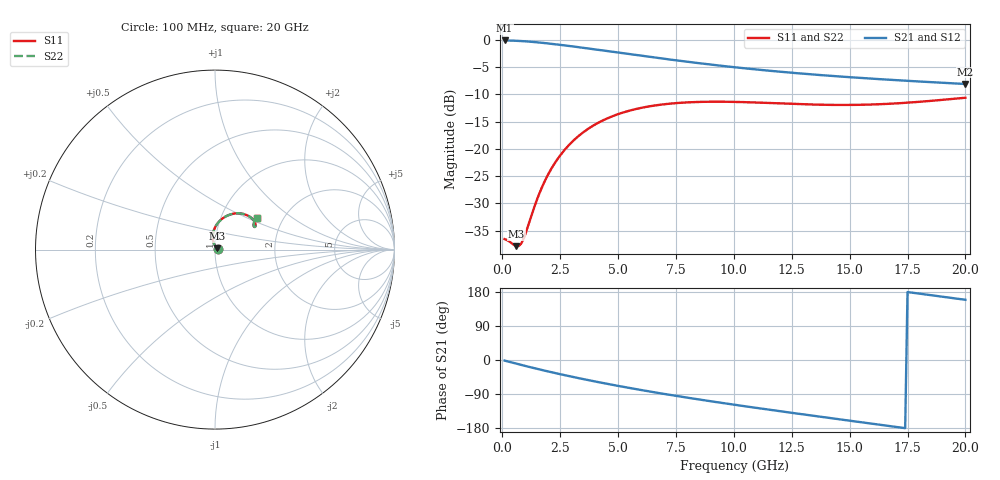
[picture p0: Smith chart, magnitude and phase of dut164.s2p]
! Created with skrf 1.9.0 (http://scikit-rf.org).
# GHz S RI R 50.0
!freq ReS11 ImS11 ReS21 ImS21 ReS12 ImS12 ReS22 ImS22
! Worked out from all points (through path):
!   200 points, 100 MHz to 20 GHz, reference 50 ohm
!   highest |S21| = -0.13 dB at 100 MHz (marker M1); lowest = -8.1 dB at 20 GHz (marker M2)
!   group delay of S21, straight-line fit = 26.6 ps
!   lowest |S11| = -37.9 dB at 600 MHz (marker M3), VSWR 1.03, Z = 51 + j0.764 ohm
!   |S11| at or under -10 dB: start of sweep to end of sweep
!   |S22| runs from -37.9 to -10.6 dB; largest |S21 - S12| = 2.3e-15
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0.1  0.0148 0.00108  0.9845 -0.0276  0.9845 -0.0276  0.0148 0.00108
0.6  0.0104 0.00748  0.9645 -0.1624  0.9645 -0.1624  0.0104 0.00748
0.7  0.00885 0.00928  0.9574 -0.1883  0.9574 -0.1883  0.00885 0.00928
0.8  0.00714 0.0113  0.9493 -0.2137  0.9493 -0.2137  0.00714 0.0113
0.9  0.00531 0.0136  0.9403 -0.2386  0.9403 -0.2386  0.00531 0.0136
1.6  -0.00764 0.0382  0.856 -0.395  0.856 -0.395  -0.00764 0.0382
1.8  -0.0103 0.0477  0.8266 -0.4335  0.8266 -0.4335  -0.0103 0.0477
2.1  -0.0124 0.0635  0.7795 -0.4857  0.7795 -0.4857  -0.0124 0.0635
2.7  -0.00914 0.0978  0.6782 -0.5714  0.6782 -0.5714  -0.00914 0.0978
3.5  0.011 0.1415  0.537 -0.6501  0.537 -0.6501  0.011 0.1415
4.2  0.0393 0.1713  0.4148 -0.6903  0.4148 -0.6903  0.0393 0.1713
4.9  0.0726 0.1909  0.2983 -0.7083  0.2983 -0.7083  0.0726 0.1909
5.8  0.1155 0.2016  0.161 -0.7054  0.161 -0.7054  0.1155 0.2016
6.8  0.157 0.1987  0.0282 -0.6768  0.0282 -0.6768  0.157 0.1987
8.4  0.202 0.1771  -0.1406 -0.5967  -0.1406 -0.5967  0.202 0.1771
10.1  0.2231 0.1504  -0.2681 -0.4888  -0.2681 -0.4888  0.2231 0.1504
11.7  0.2262 0.1327  -0.3492 -0.3796  -0.3492 -0.3796  0.2262 0.1327
13.4  0.2213 0.126  -0.4025 -0.2624  -0.4025 -0.2624  0.2213 0.126
15  0.2162 0.1303  -0.4266 -0.1541  -0.4266 -0.1541  0.2162 0.1303
16.7  0.2155 0.1431  -0.4276 -0.0442  -0.4276 -0.0442  0.2155 0.1431
18.3  0.2218 0.1588  -0.4075 0.0516  -0.4075 0.0516  0.2218 0.1588
20  0.2363 0.1747  -0.3665 0.1414  -0.3665 0.1414  0.2363 0.1747
